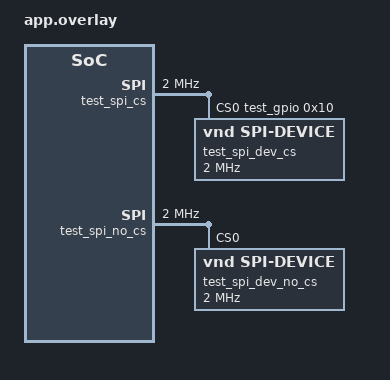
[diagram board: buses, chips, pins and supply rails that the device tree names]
/*
 * Copyright (c) 2020 Nordic Semiconductor ASA
 * Copyright (c) 2022 Intel Corporation
 *
 * SPDX-License-Identifier: Apache-2.0
 *
 */

/ {
	test {
		#address-cells = <0x1>;
		#size-cells = <0x1>;

		test_gpio: gpio@deadbeef {
			compatible = "vnd,gpio";
			gpio-controller;
			reg = <0xdeadbeef 0x1000>;
			#gpio-cells = <0x2>;
			status = "okay";
		};

		test_spi_cs: spi@33334444 {
			#address-cells = <1>;
			#size-cells = <0>;
			compatible = "vnd,spi";
			reg = <0x33334444 0x1000>;
			status = "okay";
			clock-frequency = <2000000>;

			cs-gpios = <&test_gpio 0x10 0x20>;

			test_spi_dev_cs: test-spi-dev@0 {
				compatible = "vnd,spi-device";
				reg = <0>;
				spi-max-frequency = <2000000>;
			};
		};

		test_spi_no_cs: spi@55556666 {
			#address-cells = <1>;
			#size-cells = <0>;
			compatible = "vnd,spi";
			reg = <0x55556666 0x1000>;
			status = "okay";
			clock-frequency = <2000000>;

			test_spi_dev_no_cs: test-spi-dev@0 {
				compatible = "vnd,spi-device";
				reg = <0>;
				spi-max-frequency = <2000000>;
			};
		};
	};
};
